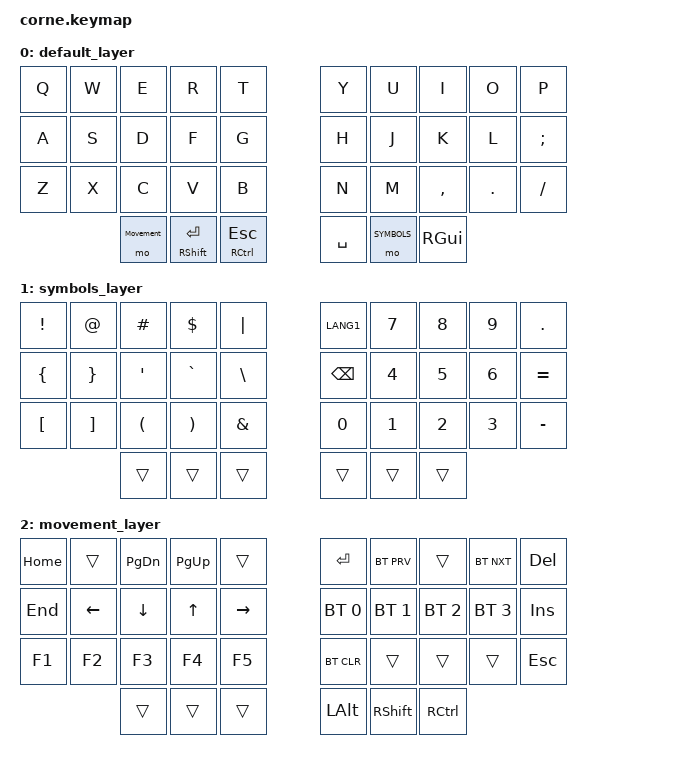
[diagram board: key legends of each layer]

#include <behaviors.dtsi>
#include <dt-bindings/zmk/keys.h>
#include <dt-bindings/zmk/bt.h>
#include <dt-bindings/zmk/outputs.h>

#define SYMBOLS 1
#define MOVEMENT 2
/ {
combos {
combo_esc_1 {
timeout-ms = <25>;
bindings = <&kp ESC>
key-positions = <6 7>;
};
combo_esc_2 {
timeout-ms = <25>;
bindings = <&kp ESC>
key-positions = <3 2>;
};
combo_enter_1 {
timeout-ms = <25>;
bindings = <&kp RET>
key-positions = <16 17>;
};
combo_enter_2 {
timeout-ms = <25>;
bindings = <&kp RET>
key-positions = <12 13>;
};
combo_tab_1 {
timeout-ms = <25>;
bindings = <&kp TAB>
key-positions = <26 27>;
};
combo_tab_2 {
timeout-ms = <25>;
bindings = <&kp TAB>
key-positions = <22 23>;
};
combo_bkspc_1 {
timeout-ms = <25>;
bindings = <&kp BSPC>
key-positions = <15 16>;
};
combo_bkspc_2 {
timeout-ms = <25>;
bindings = <&kp BSPC>
key-positions = <13 14>;
};
combo_ctl_r_1 {
timeout-ms = <25>;
bindings = <&kp RCTRL>
key-positions = <17 18>;
};
combo_ctl_l_1 {
timeout-ms = <25>;
bindings = <&kp LCTRL>
key-positions = <11 12>;
};
combo_alt_1 {
timeout-ms = <25>;
bindings = <&kp LALT>
key-positions = <27 28>;
};
combo_alt_2 {
timeout-ms = <25>;
bindings = <&kp LALT>
key-positions = <21 22>;
};
combo_gui_r_1 {
timeout-ms = <25>;
bindings = <&kp RGUI>
key-positions = <7 8>;
};
combo_gui_l_1 {
timeout-ms = <25>;
bindings = <&kp LGUI>
key-positions = <1 2>;
};
combo_alt_ctrl_1 {
timeout-ms = <25>;
bindings = <&kp LA(LCTRL)>
key-positions = <3 4>;
};
combo_alt_ctrl_2 {
timeout-ms = <25>;
bindings = <&kp LA(LCTRL)>
key-positions = <5 6>;
};
};

keymap {
compatible = "zmk,keymap";

default_layer {
bindings = <
&kp Q &kp W &kp E &kp R &kp T &kp Y &kp U &kp I &kp O &kp P 
&kp A &kp S &kp D &kp F &kp G &kp H &kp J &kp K &kp L &kp SEMI 
&kp Z &kp X &kp C &kp V &kp B &kp N &kp M &kp COMMA &kp DOT &kp FSLH 
  &mo Movement &mt RSHFT RET &mt RCTRL ESC &kp SPACE &mo SYMBOLS &kp RGUI   

>;
};
symbols_layer {
bindings = <
&kp EXCL &kp AT &kp HASH &kp DOLLAR &kp PIPE &kp LANG1 &kp N7 &kp N8 &kp N9 &kp DOT 
&kp LBRC &kp RBRC &kp SQT &kp GRAVE &kp BSLH &kp BSPC &kp N4 &kp N5 &kp N6 &kp EQUAL 
&kp LBKT &kp RBKT &kp LPAR &kp RPAR &kp AMPS &kp N0 &kp N1 &kp N2 &kp N3 &kp MINUS 
  &trans &trans &trans &trans &trans &trans   

>;
};
movement_layer {
bindings = <
&kp HOME &trans &kp PG_DN &kp PG_UP &trans &kp RET &bt BT_PRV &trans &bt BT_NXT &kp DEL 
&kp END &kp LEFT &kp DOWN &kp UP &kp RIGHT &bt BT_SEL 0 &bt BT_SEL 1 &bt BT_SEL 2 &bt BT_SEL 3 &kp INS 
&kp F1 &kp F2 &kp F3 &kp F4 &kp F5 &bt BT_CLR &trans &trans &trans &kp ESC 
  &trans &trans &trans &kp LALT &kp RSHFT &kp RCTRL   

>;
};

};

};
